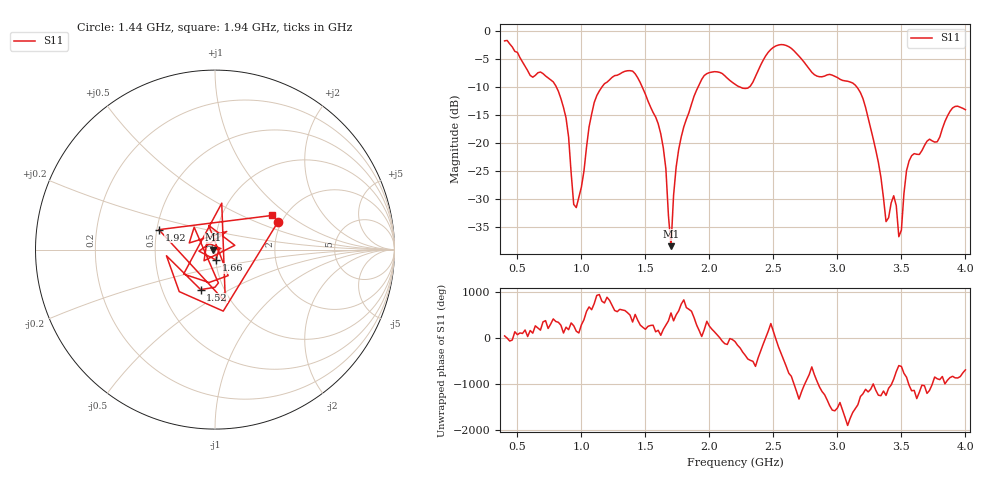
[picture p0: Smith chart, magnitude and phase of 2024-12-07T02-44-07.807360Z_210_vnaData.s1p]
!Created with skrf (http://scikit-rf.org).
# Hz S RI R 50.0
!freq ReS11 ImS11
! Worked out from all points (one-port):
!   181 points, 400 MHz to 4 GHz, reference 50 ohm
!   lowest |S11| = -38.5 dB at 1.7 GHz (marker M1), VSWR 1.02, Z = 48.8 - j0.0371 ohm
!   |S11| at or under -10 dB: 804.2 MHz to 1.16 GHz (356.1 MHz wide, 36.3 % of centre); 1.475 GHz to 1.911 GHz (436.2 MHz wide, 25.8 % of centre); 3.151 GHz to end of sweep (the widest 3 of 4)
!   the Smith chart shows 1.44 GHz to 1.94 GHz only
!   S11 on the Smith chart (normalised r, x): 1.44 GHz: 1.92, +0.69; 1.52 GHz: 0.78, -0.37; 1.66 GHz: 1.01, -0.12; 1.92 GHz: 0.51, +0.13; 1.94 GHz: 1.72, +0.76
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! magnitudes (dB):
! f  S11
! 400 MHz  -1.7
! 860 MHz  -13.7
! 900 MHz  -19.0
! 940 MHz  -31.0
! 960 MHz  -31.6
! 1.1 GHz  -12.8
! 1.3 GHz  -7.7
! 1.44 GHz  -8.3
! 1.52 GHz  -12.5
! 1.6 GHz  -16.6
! 1.66 GHz  -24.7
! 1.7 GHz  -38.5
! 1.72 GHz  -29.4
! 1.76 GHz  -21.2
! 1.92 GHz  -9.6
! 1.94 GHz  -8.6
! 2.2 GHz  -9.5
! 2.5 GHz  -2.9
! 2.66 GHz  -3.5
! 3.1 GHz  -9.1
! 3.22 GHz  -13.6
! 3.32 GHz  -23.5
! 3.38 GHz  -34.1
! 3.44 GHz  -29.5
! 3.48 GHz  -36.8
! 3.5 GHz  -35.6
! 3.56 GHz  -23.3
! 4 GHz  -14.1
